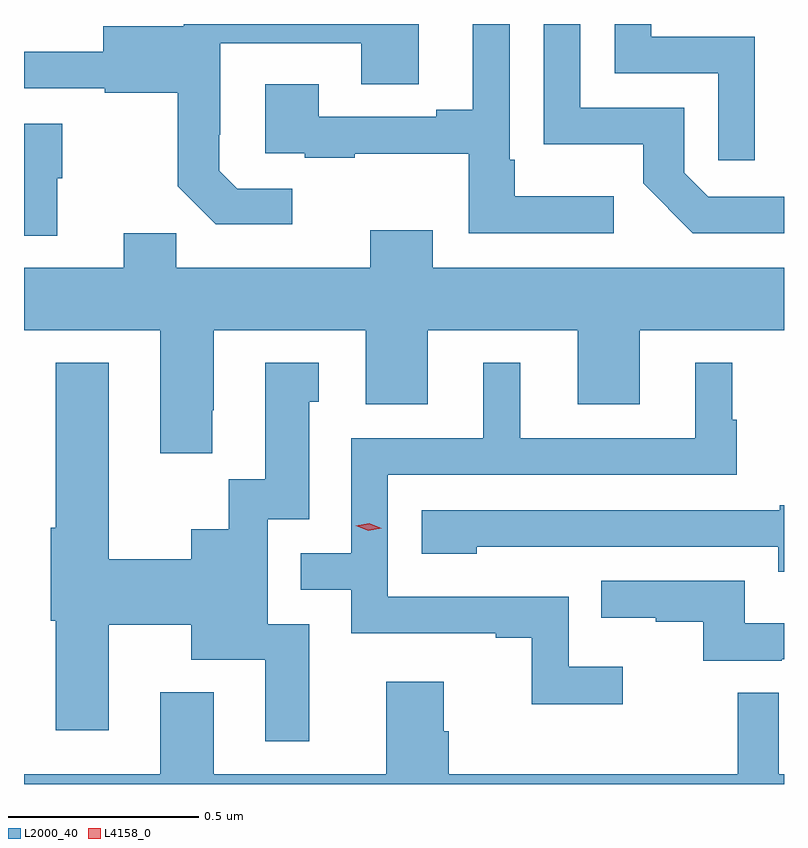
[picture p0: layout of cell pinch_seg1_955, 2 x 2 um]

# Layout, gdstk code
import gdstk
lib = gdstk.Library(unit=1e-6, precision=1e-09)
def P(c, l, *ps):  # polygons
    for p in ps: c.add(gdstk.Polygon(p, *l))
L2000_40 = (2000, 40)
L4158_0 = (4158, 0)

pinch_seg1_955 = lib.new_cell('pinch_seg1_955')
P(pinch_seg1_955, L2000_40, [(182.589,536.52),(182.316,536.52),(182.316,536.554),(182.22,536.554),(182.22,536.424),(182.493,536.424),(182.493,536.196),(182.589,536.196)],
  [(181.372,536.121),(181.227,536.121),(181.18,536.168),(181.18,536.263),(181.182,536.263),(181.182,536.504),(181.553,536.504),(181.553,536.395),(181.705,536.395),(181.705,536.554),(181.086,536.554),(181.086,536.548),(180.875,536.548),(180.875,536.481),(180.666,536.481),(180.666,536.385),(180.879,536.385),(180.879,536.373),(181.071,536.373),(181.071,536.127),(181.171,536.027),(181.372,536.027)],
  [(182.666,536.1),(182.466,536.1),(182.403,536.163),(182.403,536.334),(182.13,536.334),(182.13,536.554),(182.034,536.554),(182.034,536.237),(182.296,536.237),(182.296,536.135),(182.426,536.004),(182.666,536.004)],
  [(182.218,536.101),(181.957,536.101),(181.957,536.197),(181.944,536.197),(181.944,536.554),(181.847,536.554),(181.847,536.329),(181.751,536.329),(181.751,536.31),(181.441,536.31),(181.441,536.395),(181.301,536.395),(181.301,536.214),(181.405,536.214),(181.405,536.202),(181.537,536.202),(181.537,536.213),(181.836,536.213),(181.836,536.004),(182.218,536.004)],
  [(180.754,536.148),(180.766,536.148),(180.766,536.292),(180.666,536.292),(180.666,535.997),(180.754,535.997)],
  [(181.162,535.537),(181.165,535.537),(181.165,535.748),(181.565,535.748),(181.565,535.554),(181.729,535.554),(181.729,535.748),(182.123,535.748),(182.123,535.554),(182.287,535.554),(182.287,535.748),(182.666,535.748),(182.666,535.912),(181.741,535.912),(181.741,536.011),(181.577,536.011),(181.577,535.912),(181.067,535.912),(181.067,536.003),(180.929,536.003),(180.929,535.912),(180.666,535.912),(180.666,535.748),(181.025,535.748),(181.025,535.425),(181.162,535.425)],
  [(181.417,534.975),(181.308,534.975),(181.308,535.251),(181.417,535.251),(181.417,535.56),(181.441,535.56),(181.441,535.663),(181.301,535.663),(181.301,535.356),(181.205,535.356),(181.205,535.225),(181.106,535.225),(181.106,535.145),(180.889,535.145),(180.889,535.663),(180.749,535.663),(180.749,535.228),(180.737,535.228),(180.737,534.984),(180.749,534.984),(180.749,534.696),(180.889,534.696),(180.889,534.973),(181.106,534.973),(181.106,534.881),(181.301,534.881),(181.301,534.666),(181.417,534.666)],
  [(182.242,534.862),(182.1,534.862),(182.1,535.047),(181.623,535.047),(181.623,535.368),(182.542,535.368),(182.542,535.512),(182.53,535.512),(182.53,535.663),(182.432,535.663),(182.432,535.464),(181.972,535.464),(181.972,535.663),(181.874,535.663),(181.874,535.464),(181.527,535.464),(181.527,535.161),(181.394,535.161),(181.394,535.065),(181.527,535.065),(181.527,534.951),(181.907,534.951),(181.907,534.939),(182.002,534.939),(182.002,534.764),(182.242,534.764)],
  [(182.666,535.288),(182.655,535.288),(182.655,535.275),(181.713,535.275),(181.713,535.16),(181.857,535.16),(181.857,535.178),(182.093,535.178),(182.093,535.179),(182.651,535.179),(182.651,535.112),(182.666,535.112)],
  [(182.66,534.882),(182.666,534.882),(182.666,534.977),(182.563,534.977),(182.563,535.089),(182.185,535.089),(182.185,534.992),(182.329,534.992),(182.329,534.981),(182.453,534.981),(182.453,534.879),(182.66,534.879)],
  [(181.165,534.796),(181.025,534.796),(181.025,534.58),(180.666,534.58),(180.666,534.554),(182.666,534.554),(182.666,534.58),(182.652,534.58),(182.652,534.794),(182.544,534.794),(182.544,534.58),(181.784,534.58),(181.784,534.693),(181.771,534.693),(181.771,534.823),(181.619,534.823),(181.619,534.58),(181.165,534.58)])
P(pinch_seg1_955, L4158_0, [(181.572,535.22),(181.539,535.233),(181.538,535.233),(181.539,535.233),(181.574,535.24),(181.607,535.227),(181.607,535.227),(181.607,535.227)])

lib.write_gds('pinch_seg1_955.gds')
